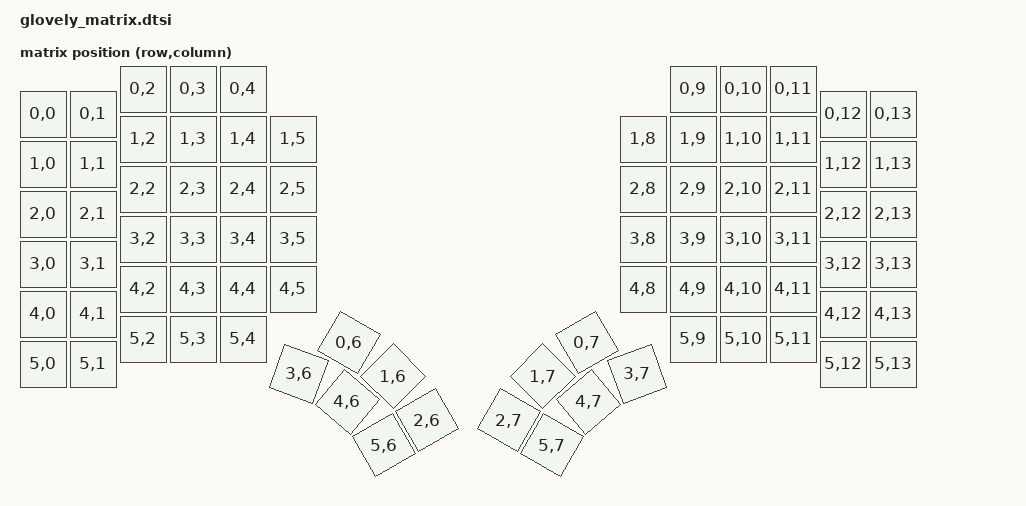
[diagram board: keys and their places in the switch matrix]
#include <physical_layouts.dtsi>

/ {
    chosen {
        zmk,physical-layout = &physical_layout0;
    };

    default_transform: keymap_transform_0 {
        compatible = "zmk,matrix-transform";
        columns = <14>;
        rows = <6>;
        map = <
        RC(0,0) RC(0,1) RC(0,2) RC(0,3) RC(0,4)                                                                    RC(0,9) RC(0,10) RC(0,11) RC(0,12) RC(0,13)
        RC(1,0) RC(1,1) RC(1,2) RC(1,3) RC(1,4) RC(1,5)                                                    RC(1,8) RC(1,9) RC(1,10) RC(1,11) RC(1,12) RC(1,13)
        RC(2,0) RC(2,1) RC(2,2) RC(2,3) RC(2,4) RC(2,5)                                                    RC(2,8) RC(2,9) RC(2,10) RC(2,11) RC(2,12) RC(2,13)
        RC(3,0) RC(3,1) RC(3,2) RC(3,3) RC(3,4) RC(3,5)                                                    RC(3,8) RC(3,9) RC(3,10) RC(3,11) RC(3,12) RC(3,13)
        RC(4,0) RC(4,1) RC(4,2) RC(4,3) RC(4,4) RC(4,5) RC(0,6) RC(1,6) RC(2,6)   RC(2,7) RC(1,7)  RC(0,7) RC(4,8) RC(4,9) RC(4,10) RC(4,11) RC(4,12) RC(4,13)
        RC(5,0) RC(5,1) RC(5,2) RC(5,3) RC(5,4)         RC(3,6) RC(4,6) RC(5,6)   RC(5,7) RC(4,7)  RC(3,7)         RC(5,9) RC(5,10) RC(5,11) RC(5,12) RC(5,13)
        >;
    };

    physical_layout0: physical_layout_0 {
        compatible = "zmk,physical-layout";
        display-name = "Default";
        transform = <&default_transform>;

        keys  //                     w   h    x    y     rot    rx    ry
        = <&key_physical_attrs 100 100    0   50       0     0     0>
        , <&key_physical_attrs 100 100  100   50       0     0     0>
        , <&key_physical_attrs 100 100  200    0       0     0     0>
        , <&key_physical_attrs 100 100  300    0       0     0     0>
        , <&key_physical_attrs 100 100  400    0       0     0     0>
        , <&key_physical_attrs 100 100 1300    0       0     0     0>
        , <&key_physical_attrs 100 100 1400    0       0     0     0>
        , <&key_physical_attrs 100 100 1500    0       0     0     0>
        , <&key_physical_attrs 100 100 1600   50       0     0     0>
        , <&key_physical_attrs 100 100 1700   50       0     0     0>
        , <&key_physical_attrs 100 100    0  150       0     0     0>
        , <&key_physical_attrs 100 100  100  150       0     0     0>
        , <&key_physical_attrs 100 100  200  100       0     0     0>
        , <&key_physical_attrs 100 100  300  100       0     0     0>
        , <&key_physical_attrs 100 100  400  100       0     0     0>
        , <&key_physical_attrs 100 100  500  100       0     0     0>
        , <&key_physical_attrs 100 100 1200  100       0     0     0>
        , <&key_physical_attrs 100 100 1300  100       0     0     0>
        , <&key_physical_attrs 100 100 1400  100       0     0     0>
        , <&key_physical_attrs 100 100 1500  100       0     0     0>
        , <&key_physical_attrs 100 100 1600  150       0     0     0>
        , <&key_physical_attrs 100 100 1700  150       0     0     0>
        , <&key_physical_attrs 100 100    0  250       0     0     0>
        , <&key_physical_attrs 100 100  100  250       0     0     0>
        , <&key_physical_attrs 100 100  200  200       0     0     0>
        , <&key_physical_attrs 100 100  300  200       0     0     0>
        , <&key_physical_attrs 100 100  400  200       0     0     0>
        , <&key_physical_attrs 100 100  500  200       0     0     0>
        , <&key_physical_attrs 100 100 1200  200       0     0     0>
        , <&key_physical_attrs 100 100 1300  200       0     0     0>
        , <&key_physical_attrs 100 100 1400  200       0     0     0>
        , <&key_physical_attrs 100 100 1500  200       0     0     0>
        , <&key_physical_attrs 100 100 1600  250       0     0     0>
        , <&key_physical_attrs 100 100 1700  250       0     0     0>
        , <&key_physical_attrs 100 100    0  350       0     0     0>
        , <&key_physical_attrs 100 100  100  350       0     0     0>
        , <&key_physical_attrs 100 100  200  300       0     0     0>
        , <&key_physical_attrs 100 100  300  300       0     0     0>
        , <&key_physical_attrs 100 100  400  300       0     0     0>
        , <&key_physical_attrs 100 100  500  300       0     0     0>
        , <&key_physical_attrs 100 100 1200  300       0     0     0>
        , <&key_physical_attrs 100 100 1300  300       0     0     0>
        , <&key_physical_attrs 100 100 1400  300       0     0     0>
        , <&key_physical_attrs 100 100 1500  300       0     0     0>
        , <&key_physical_attrs 100 100 1600  350       0     0     0>
        , <&key_physical_attrs 100 100 1700  350       0     0     0>
        , <&key_physical_attrs 100 100    0  450       0     0     0>
        , <&key_physical_attrs 100 100  100  450       0     0     0>
        , <&key_physical_attrs 100 100  200  400       0     0     0>
        , <&key_physical_attrs 100 100  300  400       0     0     0>
        , <&key_physical_attrs 100 100  400  400       0     0     0>
        , <&key_physical_attrs 100 100  500  400       0     0     0>
        , <&key_physical_attrs 100 100  400  450    3000   450   925>
        , <&key_physical_attrs 100 100  400  450    4500   450   925>
        , <&key_physical_attrs 100 100  400  450    6000   450   925>
        , <&key_physical_attrs 100 100 1300  450 (-6000)  1350   925>
        , <&key_physical_attrs 100 100 1300  450 (-4500)  1350   925>
        , <&key_physical_attrs 100 100 1300  450 (-3000)  1350   925>
        , <&key_physical_attrs 100 100 1200  400       0     0     0>
        , <&key_physical_attrs 100 100 1300  400       0     0     0>
        , <&key_physical_attrs 100 100 1400  400       0     0     0>
        , <&key_physical_attrs 100 100 1500  400       0     0     0>
        , <&key_physical_attrs 100 100 1600  450       0     0     0>
        , <&key_physical_attrs 100 100 1700  450       0     0     0>
        , <&key_physical_attrs 100 100    0  550       0     0     0>
        , <&key_physical_attrs 100 100  100  550       0     0     0>
        , <&key_physical_attrs 100 100  200  500       0     0     0>
        , <&key_physical_attrs 100 100  300  500       0     0     0>
        , <&key_physical_attrs 100 100  400  500       0     0     0>
        , <&key_physical_attrs 100 100  400  550    2000   450   925>
        , <&key_physical_attrs 100 100  400  550    4000   450   925>
        , <&key_physical_attrs 100 100  400  550    6000   450   925>
        , <&key_physical_attrs 100 100 1300  550 (-6000)  1350   925>
        , <&key_physical_attrs 100 100 1300  550 (-4000)  1350   925>
        , <&key_physical_attrs 100 100 1300  550 (-2000)  1350   925>
        , <&key_physical_attrs 100 100 1300  500       0     0     0>
        , <&key_physical_attrs 100 100 1400  500       0     0     0>
        , <&key_physical_attrs 100 100 1500  500       0     0     0>
        , <&key_physical_attrs 100 100 1600  550       0     0     0>
        , <&key_physical_attrs 100 100 1700  550       0     0     0>
        ;
    };
};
